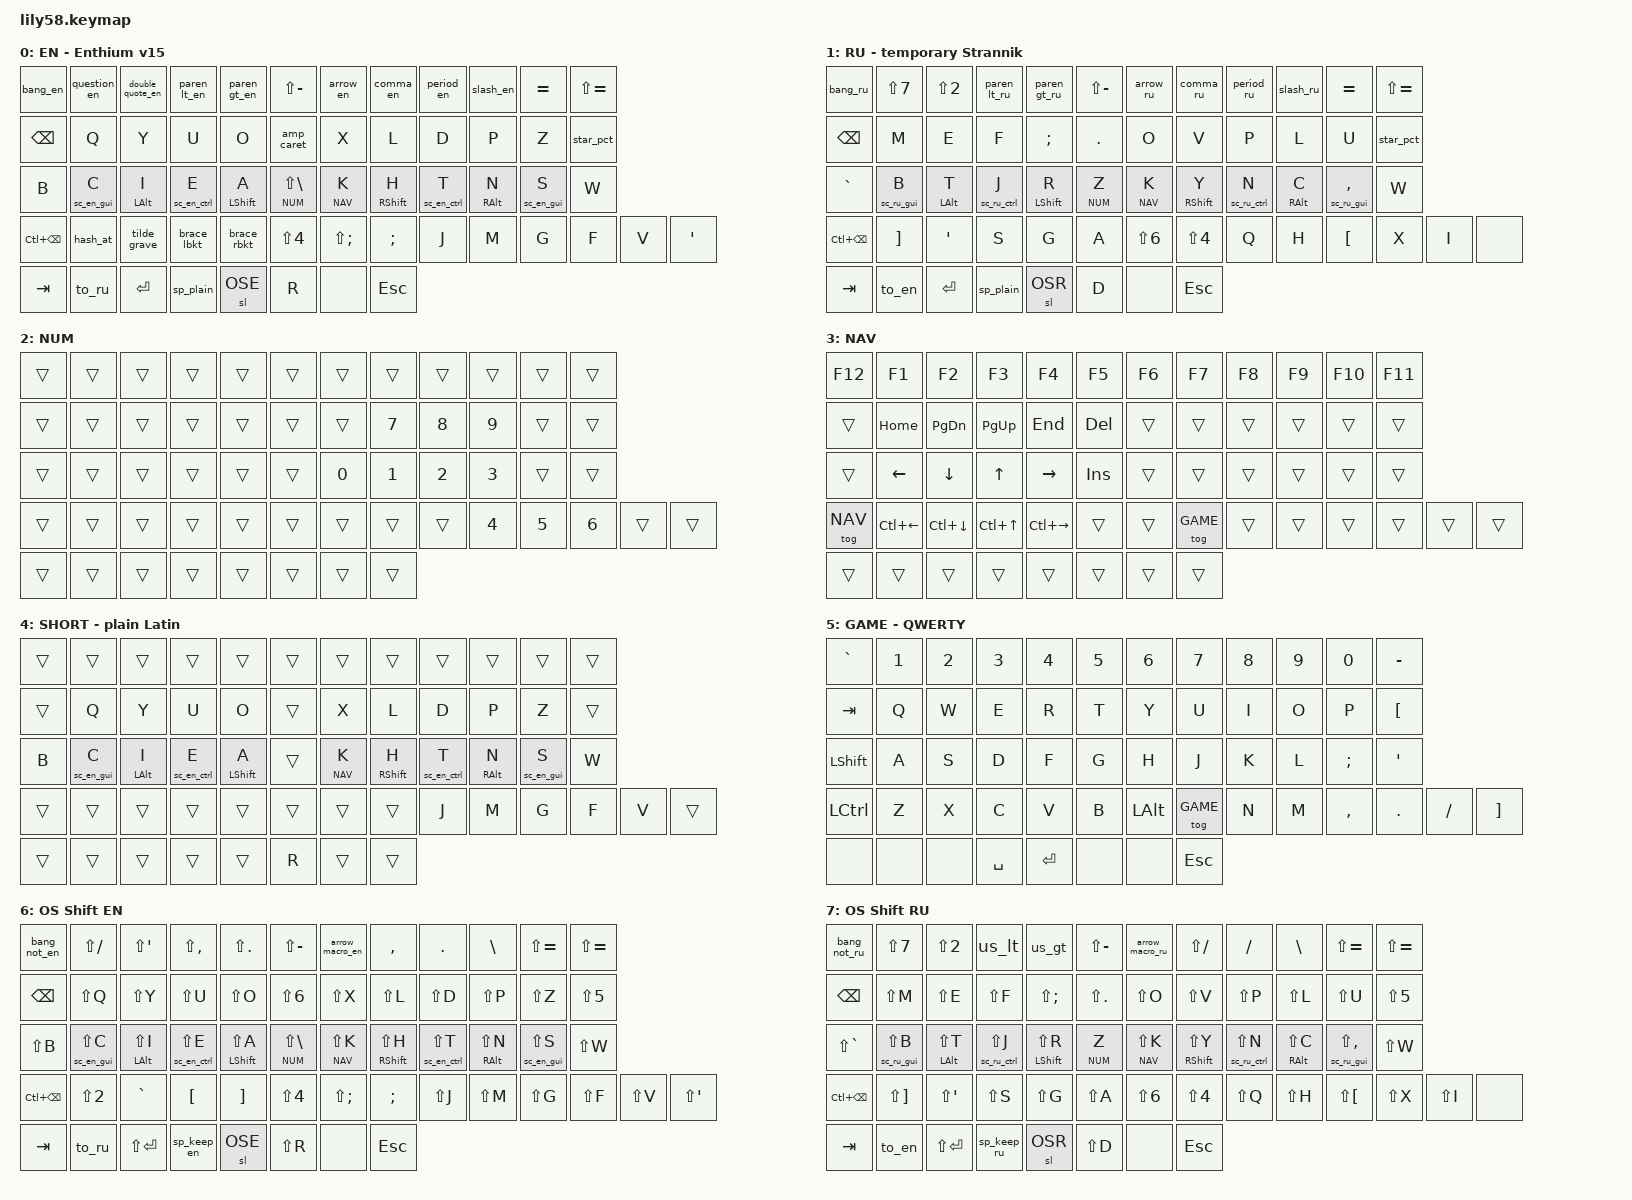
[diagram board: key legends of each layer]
/*
 * Lily58 ZMK v19.3.1 - source: Lily58_v19_tilde_first.html
 * Builder hardware: nice_nano@2.0.0 + lily58_left/lily58_right
 * 6 user layers + 2 internal one-shot Shift overlays. English and Russian.
 * One-shot Shift survives Space through a macro that re-arms the overlay.
 * CTRL/GUI home-row HOLD: activates SHORT overlay with English HID letters.
 * On RU, shortcut holds NEVER switch the OS language (no Alt+Shift).
 * IMPORTANT: generated source is not a compiled, hardware-tested UF2.
 */
#include <behaviors.dtsi>
#include <dt-bindings/zmk/keys.h>
#include <dt-bindings/zmk/modifiers.h>

#define EN 0
#define RU 1
#define NUM 2
#define NAV 3
#define SHORT 4
#define GAME 5
#define OSE 6
#define OSR 7

#define LHS 0 1 2 3 4 5 12 13 14 15 16 17 24 25 26 27 28 29 36 37 38 39 40 41 42 50 51 52 53
#define RHS 6 7 8 9 10 11 18 19 20 21 22 23 30 31 32 33 34 35 43 44 45 46 47 48 49 54 55 56 57

/* Release at next pressed key. Space re-arms the one-shot layer. */
&sl { quick-release; release-after-ms = <60000>; };

/ {
    behaviors {
        hml: hml { compatible = "zmk,behavior-hold-tap"; #binding-cells = <2>;
            bindings = <&kp>, <&kp>; flavor = "balanced"; tapping-term-ms = <280>;
            quick-tap-ms = <150>; require-prior-idle-ms = <125>;
            hold-trigger-on-release; hold-trigger-key-positions = <RHS>; };
        hmr: hmr { compatible = "zmk,behavior-hold-tap"; #binding-cells = <2>;
            bindings = <&kp>, <&kp>; flavor = "balanced"; tapping-term-ms = <280>;
            quick-tap-ms = <150>; require-prior-idle-ms = <125>;
            hold-trigger-on-release; hold-trigger-key-positions = <LHS>; };
        hml_short_gui: hml_short_gui { compatible = "zmk,behavior-hold-tap"; #binding-cells = <2>;
            bindings = <&sc_en_gui>, <&kp>; flavor = "balanced"; tapping-term-ms = <280>;
            quick-tap-ms = <150>; require-prior-idle-ms = <125>;
            hold-trigger-on-release; hold-trigger-key-positions = <RHS>; };
        hml_short_ctrl: hml_short_ctrl { compatible = "zmk,behavior-hold-tap"; #binding-cells = <2>;
            bindings = <&sc_en_ctrl>, <&kp>; flavor = "balanced"; tapping-term-ms = <280>;
            quick-tap-ms = <150>; require-prior-idle-ms = <125>;
            hold-trigger-on-release; hold-trigger-key-positions = <RHS>; };
        hmr_short_gui: hmr_short_gui { compatible = "zmk,behavior-hold-tap"; #binding-cells = <2>;
            bindings = <&sc_en_gui>, <&kp>; flavor = "balanced"; tapping-term-ms = <280>;
            quick-tap-ms = <150>; require-prior-idle-ms = <125>;
            hold-trigger-on-release; hold-trigger-key-positions = <LHS>; };
        hmr_short_ctrl: hmr_short_ctrl { compatible = "zmk,behavior-hold-tap"; #binding-cells = <2>;
            bindings = <&sc_en_ctrl>, <&kp>; flavor = "balanced"; tapping-term-ms = <280>;
            quick-tap-ms = <150>; require-prior-idle-ms = <125>;
            hold-trigger-on-release; hold-trigger-key-positions = <LHS>; };
        hml_ru_gui: hml_ru_gui { compatible = "zmk,behavior-hold-tap"; #binding-cells = <2>;
            bindings = <&sc_ru_gui>, <&kp>; flavor = "balanced"; tapping-term-ms = <280>;
            quick-tap-ms = <150>; require-prior-idle-ms = <125>;
            hold-trigger-on-release; hold-trigger-key-positions = <RHS>; };
        hml_ru_ctrl: hml_ru_ctrl { compatible = "zmk,behavior-hold-tap"; #binding-cells = <2>;
            bindings = <&sc_ru_ctrl>, <&kp>; flavor = "balanced"; tapping-term-ms = <280>;
            quick-tap-ms = <150>; require-prior-idle-ms = <125>;
            hold-trigger-on-release; hold-trigger-key-positions = <RHS>; };
        hmr_ru_gui: hmr_ru_gui { compatible = "zmk,behavior-hold-tap"; #binding-cells = <2>;
            bindings = <&sc_ru_gui>, <&kp>; flavor = "balanced"; tapping-term-ms = <280>;
            quick-tap-ms = <150>; require-prior-idle-ms = <125>;
            hold-trigger-on-release; hold-trigger-key-positions = <LHS>; };
        hmr_ru_ctrl: hmr_ru_ctrl { compatible = "zmk,behavior-hold-tap"; #binding-cells = <2>;
            bindings = <&sc_ru_ctrl>, <&kp>; flavor = "balanced"; tapping-term-ms = <280>;
            quick-tap-ms = <150>; require-prior-idle-ms = <125>;
            hold-trigger-on-release; hold-trigger-key-positions = <LHS>; };
        bang_en: bang_en { compatible = "zmk,behavior-mod-morph"; #binding-cells = <0>; bindings = <&kp LS(N1)>, <&bang_not_en>; mods = <(MOD_LSFT | MOD_RSFT)>; };
        bang_ru: bang_ru { compatible = "zmk,behavior-mod-morph"; #binding-cells = <0>; bindings = <&kp LS(N1)>, <&bang_not_ru>; mods = <(MOD_LSFT | MOD_RSFT)>; };
        question_en: question_en { compatible = "zmk,behavior-mod-morph"; #binding-cells = <0>; bindings = <&kp LS(FSLH)>, <&kp LS(FSLH)>; mods = <(MOD_LSFT | MOD_RSFT)>; };
        double_quote_en: double_quote_en { compatible = "zmk,behavior-mod-morph"; #binding-cells = <0>; bindings = <&kp LS(SQT)>, <&kp LS(SQT)>; mods = <(MOD_LSFT | MOD_RSFT)>; };
        paren_lt_en: paren_lt_en { compatible = "zmk,behavior-mod-morph"; #binding-cells = <0>; bindings = <&kp LS(N9)>, <&kp LS(COMMA)>; mods = <(MOD_LSFT | MOD_RSFT)>; };
        paren_gt_en: paren_gt_en { compatible = "zmk,behavior-mod-morph"; #binding-cells = <0>; bindings = <&kp LS(N0)>, <&kp LS(DOT)>; mods = <(MOD_LSFT | MOD_RSFT)>; };
        paren_lt_ru: paren_lt_ru { compatible = "zmk,behavior-mod-morph"; #binding-cells = <0>; bindings = <&kp LS(N9)>, <&us_lt>; mods = <(MOD_LSFT | MOD_RSFT)>; };
        paren_gt_ru: paren_gt_ru { compatible = "zmk,behavior-mod-morph"; #binding-cells = <0>; bindings = <&kp LS(N0)>, <&us_gt>; mods = <(MOD_LSFT | MOD_RSFT)>; };
        arrow_en: arrow_en { compatible = "zmk,behavior-mod-morph"; #binding-cells = <0>; bindings = <&kp MINUS>, <&arrow_macro_en>; mods = <(MOD_LSFT | MOD_RSFT)>; };
        arrow_ru: arrow_ru { compatible = "zmk,behavior-mod-morph"; #binding-cells = <0>; bindings = <&kp MINUS>, <&arrow_macro_ru>; mods = <(MOD_LSFT | MOD_RSFT)>; };
        comma_en: comma_en { compatible = "zmk,behavior-mod-morph"; #binding-cells = <0>; bindings = <&kp COMMA>, <&kp COMMA>; mods = <(MOD_LSFT | MOD_RSFT)>; };
        period_en: period_en { compatible = "zmk,behavior-mod-morph"; #binding-cells = <0>; bindings = <&kp DOT>, <&kp DOT>; mods = <(MOD_LSFT | MOD_RSFT)>; };
        comma_ru: comma_ru { compatible = "zmk,behavior-mod-morph"; #binding-cells = <0>; bindings = <&kp LS(FSLH)>, <&kp LS(FSLH)>; mods = <(MOD_LSFT | MOD_RSFT)>; };
        period_ru: period_ru { compatible = "zmk,behavior-mod-morph"; #binding-cells = <0>; bindings = <&kp FSLH>, <&kp FSLH>; mods = <(MOD_LSFT | MOD_RSFT)>; };
        slash_en: slash_en { compatible = "zmk,behavior-mod-morph"; #binding-cells = <0>; bindings = <&kp FSLH>, <&kp BSLH>; mods = <(MOD_LSFT | MOD_RSFT)>; };
        slash_ru: slash_ru { compatible = "zmk,behavior-mod-morph"; #binding-cells = <0>; bindings = <&kp LS(BSLH)>, <&kp BSLH>; mods = <(MOD_LSFT | MOD_RSFT)>; };
        amp_caret: amp_caret { compatible = "zmk,behavior-mod-morph"; #binding-cells = <0>; bindings = <&kp LS(N7)>, <&kp LS(N6)>; mods = <(MOD_LSFT | MOD_RSFT)>; };
        star_pct: star_pct { compatible = "zmk,behavior-mod-morph"; #binding-cells = <0>; bindings = <&kp LS(N8)>, <&kp LS(N5)>; mods = <(MOD_LSFT | MOD_RSFT)>; };
        hash_at: hash_at { compatible = "zmk,behavior-mod-morph"; #binding-cells = <0>; bindings = <&kp LS(N3)>, <&kp LS(N2)>; mods = <(MOD_LSFT | MOD_RSFT)>; };
        tilde_grave: tilde_grave { compatible = "zmk,behavior-mod-morph"; #binding-cells = <0>; bindings = <&kp LS(GRAVE)>, <&kp GRAVE>; mods = <(MOD_LSFT | MOD_RSFT)>; };
        brace_lbkt: brace_lbkt { compatible = "zmk,behavior-mod-morph"; #binding-cells = <0>; bindings = <&kp LS(LBKT)>, <&kp LBKT>; mods = <(MOD_LSFT | MOD_RSFT)>; };
        brace_rbkt: brace_rbkt { compatible = "zmk,behavior-mod-morph"; #binding-cells = <0>; bindings = <&kp LS(RBKT)>, <&kp RBKT>; mods = <(MOD_LSFT | MOD_RSFT)>; };
    };
    macros {
        os_toggle: os_toggle { compatible = "zmk,behavior-macro";
            #binding-cells = <0>; wait-ms = <80>; tap-ms = <35>;
            bindings = <&macro_press &kp LALT &kp LSHFT>, <&macro_release &kp LSHFT &kp LALT>; };
        to_ru: to_ru { compatible = "zmk,behavior-macro";
            #binding-cells = <0>; wait-ms = <90>; tap-ms = <25>;
            bindings = <&os_toggle &to RU>; };
        to_en: to_en { compatible = "zmk,behavior-macro";
            #binding-cells = <0>; wait-ms = <90>; tap-ms = <25>;
            bindings = <&os_toggle &to EN>; };
        sp_plain: sp_plain { compatible = "zmk,behavior-macro";
            #binding-cells = <0>; wait-ms = <0>; tap-ms = <25>;
            bindings = <&kp SPACE>; };
        sp_keep_en: sp_keep_en { compatible = "zmk,behavior-macro";
            #binding-cells = <0>; wait-ms = <30>; tap-ms = <25>;
            bindings = <&kp SPACE>, <&sl OSE>; };
        sp_keep_ru: sp_keep_ru { compatible = "zmk,behavior-macro";
            #binding-cells = <0>; wait-ms = <30>; tap-ms = <25>;
            bindings = <&kp SPACE>, <&sl OSR>; };
        bang_not_en: bang_not_en { compatible = "zmk,behavior-macro";
            #binding-cells = <0>; wait-ms = <20>; tap-ms = <25>;
            bindings = <&kp LS(N1) &kp EQUAL>; };
        bang_not_ru: bang_not_ru { compatible = "zmk,behavior-macro";
            #binding-cells = <0>; wait-ms = <20>; tap-ms = <25>;
            bindings = <&kp LS(N1) &kp EQUAL>; };
        arrow_macro_en: arrow_macro_en { compatible = "zmk,behavior-macro";
            #binding-cells = <0>; wait-ms = <20>; tap-ms = <25>;
            bindings = <&kp MINUS &kp LS(DOT)>; };
        arrow_macro_ru: arrow_macro_ru { compatible = "zmk,behavior-macro";
            #binding-cells = <0>; wait-ms = <90>; tap-ms = <25>;
            bindings = <&kp MINUS &us_gt>; };
        us_lt: us_lt { compatible = "zmk,behavior-macro";
            #binding-cells = <0>; wait-ms = <90>; tap-ms = <35>;
            bindings = <&os_toggle &kp LS(COMMA) &os_toggle>; };
        us_gt: us_gt { compatible = "zmk,behavior-macro";
            #binding-cells = <0>; wait-ms = <90>; tap-ms = <35>;
            bindings = <&os_toggle &kp LS(DOT) &os_toggle>; };
        sc_en_ctrl: sc_en_ctrl { compatible = "zmk,behavior-macro";
            #binding-cells = <0>; wait-ms = <0>; tap-ms = <25>;
            bindings = <&macro_press &mo SHORT &kp LCTRL>, <&macro_pause_for_release>, <&macro_release &mo SHORT &kp LCTRL>; };
        sc_en_gui: sc_en_gui { compatible = "zmk,behavior-macro";
            #binding-cells = <0>; wait-ms = <0>; tap-ms = <25>;
            bindings = <&macro_press &mo SHORT &kp LGUI>, <&macro_pause_for_release>, <&macro_release &mo SHORT &kp LGUI>; };
        sc_ru_ctrl: sc_ru_ctrl { compatible = "zmk,behavior-macro";
            #binding-cells = <0>; wait-ms = <0>; tap-ms = <25>;
            bindings = <&macro_press &mo SHORT &kp LCTRL>, <&macro_pause_for_release>, <&macro_release &mo SHORT &kp LCTRL>; };
        sc_ru_gui: sc_ru_gui { compatible = "zmk,behavior-macro";
            #binding-cells = <0>; wait-ms = <0>; tap-ms = <25>;
            bindings = <&macro_press &mo SHORT &kp LGUI>, <&macro_pause_for_release>, <&macro_release &mo SHORT &kp LGUI>; };
    };
    keymap { compatible = "zmk,keymap";
        en_layer { display-name = "EN - Enthium v15"; bindings = <
            &bang_en  &question_en  &double_quote_en  &paren_lt_en  &paren_gt_en  &kp LS(MINUS)  &arrow_en  &comma_en  &period_en  &slash_en  &kp EQUAL  &kp LS(EQUAL)
            &kp BSPC  &kp Q  &kp Y  &kp U  &kp O  &amp_caret  &kp X  &kp L  &kp D  &kp P  &kp Z  &star_pct
            &kp B  &hml_short_gui 0 C  &hml LALT I  &hml_short_ctrl 0 E  &hml LSHFT A  &lt NUM LS(BSLH)  &lt NAV K  &hmr RSHFT H  &hmr_short_ctrl 0 T  &hmr RALT N  &hmr_short_gui 0 S  &kp W
            &kp LC(BSPC)  &hash_at  &tilde_grave  &brace_lbkt  &brace_rbkt  &kp LS(N4)  &kp LS(SEMI)  &kp SEMI  &kp J  &kp M  &kp G  &kp F  &kp V  &kp SQT
            &kp TAB  &to_ru  &kp RET  &sp_plain  &sl OSE  &kp R  &none  &kp ESC
        >; };
        ru_layer { display-name = "RU - temporary Strannik"; bindings = <
            &bang_ru  &kp LS(N7)  &kp LS(N2)  &paren_lt_ru  &paren_gt_ru  &kp LS(MINUS)  &arrow_ru  &comma_ru  &period_ru  &slash_ru  &kp EQUAL  &kp LS(EQUAL)
            &kp BSPC  &kp M  &kp E  &kp F  &kp SEMI  &kp DOT  &kp O  &kp V  &kp P  &kp L  &kp U  &star_pct
            &kp GRAVE  &hml_ru_gui 0 B  &hml LALT T  &hml_ru_ctrl 0 J  &hml LSHFT R  &lt NUM Z  &lt NAV K  &hmr RSHFT Y  &hmr_ru_ctrl 0 N  &hmr RALT C  &hmr_ru_gui 0 COMMA  &kp W
            &kp LC(BSPC)  &kp RBKT  &kp SQT  &kp S  &kp G  &kp A  &kp LS(N6)  &kp LS(N4)  &kp Q  &kp H  &kp LBKT  &kp X  &kp I  &none
            &kp TAB  &to_en  &kp RET  &sp_plain  &sl OSR  &kp D  &none  &kp ESC
        >; };
        num_layer { display-name = "NUM"; bindings = <
            &trans  &trans  &trans  &trans  &trans  &trans  &trans  &trans  &trans  &trans  &trans  &trans
            &trans  &trans  &trans  &trans  &trans  &trans  &trans  &kp N7  &kp N8  &kp N9  &trans  &trans
            &trans  &trans  &trans  &trans  &trans  &trans  &kp N0  &kp N1  &kp N2  &kp N3  &trans  &trans
            &trans  &trans  &trans  &trans  &trans  &trans  &trans  &trans  &trans  &kp N4  &kp N5  &kp N6  &trans  &trans
            &trans  &trans  &trans  &trans  &trans  &trans  &trans  &trans
        >; };
        nav_layer { display-name = "NAV"; bindings = <
            &kp F12  &kp F1  &kp F2  &kp F3  &kp F4  &kp F5  &kp F6  &kp F7  &kp F8  &kp F9  &kp F10  &kp F11
            &trans  &kp HOME  &kp PG_DN  &kp PG_UP  &kp END  &kp DEL  &trans  &trans  &trans  &trans  &trans  &trans
            &trans  &kp LEFT  &kp DOWN  &kp UP  &kp RIGHT  &kp INS  &trans  &trans  &trans  &trans  &trans  &trans
            &tog NAV  &kp LC(LEFT)  &kp LC(DOWN)  &kp LC(UP)  &kp LC(RIGHT)  &trans  &trans  &tog GAME  &trans  &trans  &trans  &trans  &trans  &trans
            &trans  &trans  &trans  &trans  &trans  &trans  &trans  &trans
        >; };
        short_layer { display-name = "SHORT - plain Latin"; bindings = <
            &trans  &trans  &trans  &trans  &trans  &trans  &trans  &trans  &trans  &trans  &trans  &trans
            &trans  &kp Q  &kp Y  &kp U  &kp O  &trans  &kp X  &kp L  &kp D  &kp P  &kp Z  &trans
            &kp B  &hml_short_gui 0 C  &hml LALT I  &hml_short_ctrl 0 E  &hml LSHFT A  &trans  &lt NAV K  &hmr RSHFT H  &hmr_short_ctrl 0 T  &hmr RALT N  &hmr_short_gui 0 S  &kp W
            &trans  &trans  &trans  &trans  &trans  &trans  &trans  &trans  &kp J  &kp M  &kp G  &kp F  &kp V  &trans
            &trans  &trans  &trans  &trans  &trans  &kp R  &trans  &trans
        >; };
        game_layer { display-name = "GAME - QWERTY"; bindings = <
            &kp GRAVE  &kp N1  &kp N2  &kp N3  &kp N4  &kp N5  &kp N6  &kp N7  &kp N8  &kp N9  &kp N0  &kp MINUS
            &kp TAB  &kp Q  &kp W  &kp E  &kp R  &kp T  &kp Y  &kp U  &kp I  &kp O  &kp P  &kp LBKT
            &kp LSHFT  &kp A  &kp S  &kp D  &kp F  &kp G  &kp H  &kp J  &kp K  &kp L  &kp SEMI  &kp SQT
            &kp LCTRL  &kp Z  &kp X  &kp C  &kp V  &kp B  &kp LALT  &tog GAME  &kp N  &kp M  &kp COMMA  &kp DOT  &kp FSLH  &kp RBKT
            &none  &none  &none  &kp SPACE  &kp RET  &none  &none  &kp ESC
        >; };
        ose_layer { display-name = "OS Shift EN"; bindings = <
            &bang_not_en  &kp LS(FSLH)  &kp LS(SQT)  &kp LS(COMMA)  &kp LS(DOT)  &kp LS(MINUS)  &arrow_macro_en  &kp COMMA  &kp DOT  &kp BSLH  &kp LS(EQUAL)  &kp LS(EQUAL)
            &kp BSPC  &kp LS(Q)  &kp LS(Y)  &kp LS(U)  &kp LS(O)  &kp LS(N6)  &kp LS(X)  &kp LS(L)  &kp LS(D)  &kp LS(P)  &kp LS(Z)  &kp LS(N5)
            &kp LS(B)  &hml_short_gui 0 LS(C)  &hml LALT LS(I)  &hml_short_ctrl 0 LS(E)  &hml LSHFT LS(A)  &lt NUM LS(BSLH)  &lt NAV LS(K)  &hmr RSHFT LS(H)  &hmr_short_ctrl 0 LS(T)  &hmr RALT LS(N)  &hmr_short_gui 0 LS(S)  &kp LS(W)
            &kp LC(BSPC)  &kp LS(N2)  &kp GRAVE  &kp LBKT  &kp RBKT  &kp LS(N4)  &kp LS(SEMI)  &kp SEMI  &kp LS(J)  &kp LS(M)  &kp LS(G)  &kp LS(F)  &kp LS(V)  &kp LS(SQT)
            &kp TAB  &to_ru  &kp LS(RET)  &sp_keep_en  &sl OSE  &kp LS(R)  &none  &kp ESC
        >; };
        osr_layer { display-name = "OS Shift RU"; bindings = <
            &bang_not_ru  &kp LS(N7)  &kp LS(N2)  &us_lt  &us_gt  &kp LS(MINUS)  &arrow_macro_ru  &kp LS(FSLH)  &kp FSLH  &kp BSLH  &kp LS(EQUAL)  &kp LS(EQUAL)
            &kp BSPC  &kp LS(M)  &kp LS(E)  &kp LS(F)  &kp LS(SEMI)  &kp LS(DOT)  &kp LS(O)  &kp LS(V)  &kp LS(P)  &kp LS(L)  &kp LS(U)  &kp LS(N5)
            &kp LS(GRAVE)  &hml_ru_gui 0 LS(B)  &hml LALT LS(T)  &hml_ru_ctrl 0 LS(J)  &hml LSHFT LS(R)  &lt NUM Z  &lt NAV LS(K)  &hmr RSHFT LS(Y)  &hmr_ru_ctrl 0 LS(N)  &hmr RALT LS(C)  &hmr_ru_gui 0 LS(COMMA)  &kp LS(W)
            &kp LC(BSPC)  &kp LS(RBKT)  &kp LS(SQT)  &kp LS(S)  &kp LS(G)  &kp LS(A)  &kp LS(N6)  &kp LS(N4)  &kp LS(Q)  &kp LS(H)  &kp LS(LBKT)  &kp LS(X)  &kp LS(I)  &none
            &kp TAB  &to_en  &kp LS(RET)  &sp_keep_ru  &sl OSR  &kp LS(D)  &none  &kp ESC
        >; };
    };
};
